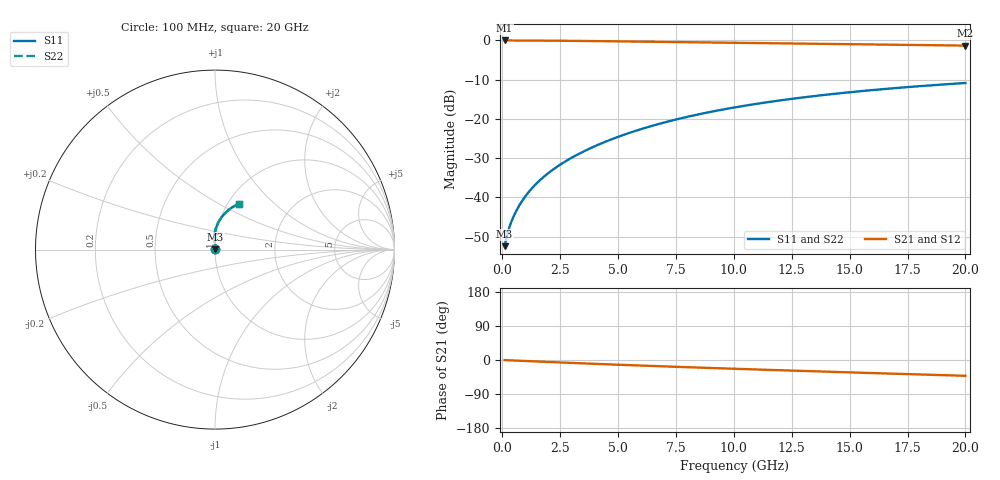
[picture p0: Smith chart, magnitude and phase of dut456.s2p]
! Touchstone file exported from HFSS 2024.1.0
!  File:  C:/UserFiles/LocalFiles/RDL_TSV_Batchsim/temp_RDL_bottom_456_1779685308.aedt
!  Generated:  01:04:16 PM May 25, 2026
!  Design:  RDL_bottom
!  Project:  temp_RDL_bottom_456_1779685308
!  Setup:  Setup1
!  Solution:  Sweep
! Variables:
!  dtsv = 10.80580581um
!  hbump = 3um
!  htsv = 86.04um
!  ldown = 644.45um
!  lrdl = 100um
!  p = 40
!  p1 = 50.74um
!  rhole = 1um
!  t = 450um
!  tdown = 4.34um
!  trdl = 3.915915916um
!  wdown = 29.69um
!  wrdl = 20um
# GHz S MA R 50.000000
! Terminal data exported
! Port[1] = RDL1_T1
! Port[2] = RDL1_T2
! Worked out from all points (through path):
!   200 points, 100 MHz to 20 GHz, reference 50 ohm
!   highest |S21| = -0.02 dB at 100 MHz (marker M1); lowest = -1.3 dB at 20 GHz (marker M2)
!   group delay of S21, straight-line fit = 5.69 ps
!   lowest |S11| = -52.5 dB at 100 MHz (marker M3), VSWR 1.00, Z = 50.2 + j0.126 ohm
!   |S11| at or under -10 dB: start of sweep to end of sweep
!   |S22| runs from -52.5 to -10.9 dB; largest |S21 - S12| = 4.4e-15
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0.1  0.002381 31.7  0.998 -0.3  0.998 -0.3  0.002381 31.7
! Gamma 0 0 0 0
! Port Impedance 50 0 50 0
0.2  0.003232 46.9  0.9977 -0.6  0.9977 -0.6  0.003232 46.9
0.3  0.004098 55.0  0.9975 -0.8  0.9975 -0.8  0.004099 55.0
0.4  0.004948 60.5  0.9973 -1.1  0.9973 -1.1  0.004949 60.5
0.5  0.005802 64.9  0.9971 -1.3  0.9971 -1.3  0.005803 64.9
0.8  0.008466 73.7  0.9965 -2.1  0.9965 -2.1  0.008467 73.6
1  0.01033 77.5  0.996 -2.6  0.996 -2.6  0.01033 77.5
1.2  0.01225 80.3  0.9954 -3.2  0.9954 -3.2  0.01225 80.3
1.7  0.0173 85.2  0.9936 -4.5  0.9936 -4.5  0.0173 85.2
2.2  0.02267 88.3  0.9913 -5.7  0.9913 -5.7  0.02267 88.3
2.8  0.02956 90.7  0.988 -7.2  0.988 -7.2  0.02955 90.7
3.5  0.03823 92.3  0.9834 -9.0  0.9834 -9.0  0.03822 92.3
4.2  0.04756 93.1  0.9782 -10.6  0.9782 -10.6  0.04754 93.1
5  0.05894 93.2  0.9719 -12.5  0.9719 -12.5  0.05891 93.1
5.9  0.07252 92.5  0.9645 -14.5  0.9645 -14.5  0.07247 92.5
6.8  0.08669 91.3  0.9569 -16.5  0.9569 -16.5  0.08664 91.3
8.4  0.1128 88.4  0.9436 -19.9  0.9436 -19.9  0.1127 88.4
10.1  0.1409 84.7  0.9298 -23.3  0.9298 -23.3  0.1408 84.7
11.7  0.167 81.0  0.9174 -26.4  0.9174 -26.4  0.1669 81.0
13.4  0.1939 77.1  0.9046 -29.7  0.9046 -29.7  0.1938 77.0
16.7  0.2428 69.6  0.8808 -35.8  0.8808 -35.8  0.2426 69.6
20  0.2864 62.7  0.8581 -41.7  0.8581 -41.7  0.2861 62.6
